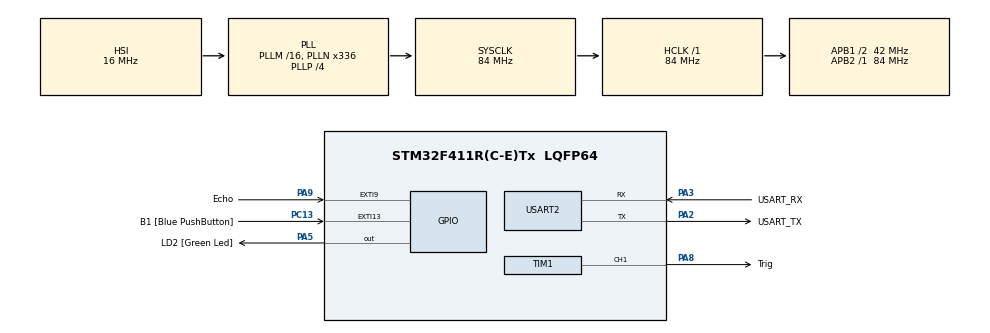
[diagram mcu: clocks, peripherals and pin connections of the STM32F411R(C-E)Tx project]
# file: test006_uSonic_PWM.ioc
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Mcu.Family=STM32F4
Mcu.Name=STM32F411R(C-E)Tx
Mcu.Package=LQFP64
NVIC.EXTI9_5_IRQn=true\:0\:0\:false\:false\:true\:true\:true\:true
NVIC.PriorityGroup=NVIC_PRIORITYGROUP_0
NVIC.TIM2_IRQn=true\:0\:0\:false\:false\:true\:true\:true\:true
PA13.GPIO_Label=TMS
PA13.Mode=Serial_Wire
PA13.Signal=SYS_JTMS-SWDIO
PA14.GPIO_Label=TCK
PA14.Mode=Serial_Wire
PA14.Signal=SYS_JTCK-SWCLK
PA2.GPIO_Label=USART_TX
PA2.Mode=Asynchronous
PA2.Signal=USART2_TX
PA3.GPIO_Label=USART_RX
PA3.Mode=Asynchronous
PA3.Signal=USART2_RX
PA5.GPIO_Label=LD2 [Green Led]
PA5.Signal=GPIO_Output
PA8.GPIO_Label=Trig
PA8.Signal=S_TIM1_CH1
PA9.GPIO_Label=Echo
PA9.GPIO_ModeDefaultEXTI=GPIO_MODE_IT_RISING_FALLING
PA9.Signal=GPXTI9
PB3.GPIO_Label=SWO
PB3.Signal=SYS_JTDO-SWO
PC13-ANTI_TAMP.GPIO_Label=B1 [Blue PushButton]
PC13-ANTI_TAMP.GPIO_ModeDefaultEXTI=GPIO_MODE_IT_FALLING
PC13-ANTI_TAMP.Signal=GPXTI13
PC14-OSC32_IN.Mode=LSE-External-Oscillator
PC14-OSC32_IN.Signal=RCC_OSC32_IN
PC15-OSC32_OUT.Mode=LSE-External-Oscillator
PC15-OSC32_OUT.Signal=RCC_OSC32_OUT
PH0\ -\ OSC_IN.Mode=HSE-External-Clock-Source
PH0\ -\ OSC_IN.Signal=RCC_OSC_IN
PH1\ -\ OSC_OUT.Mode=HSE-External-Clock-Source
PH1\ -\ OSC_OUT.Signal=RCC_OSC_OUT
ProjectManager.HeapSize=0x200
ProjectManager.StackSize=0x400
ProjectManager.TargetToolchain=STM32CubeIDE
RCC.48MHZClocksFreq_Value=84000000
RCC.AHBFreq_Value=84000000
RCC.APB1CLKDivider=RCC_HCLK_DIV2
RCC.APB1Freq_Value=42000000
RCC.APB1TimFreq_Value=84000000
RCC.APB2Freq_Value=84000000
RCC.APB2TimFreq_Value=84000000
RCC.CortexFreq_Value=84000000
RCC.FLatency-AdvancedSettings=FLASH_LATENCY_2
RCC.HCLKFreq_Value=84000000
RCC.HSE_VALUE=8000000
RCC.HSI_VALUE=16000000
RCC.PLLN=336
RCC.PLLP=RCC_PLLP_DIV4
RCC.SYSCLKFreq_VALUE=84000000
RCC.SYSCLKSource=RCC_SYSCLKSOURCE_PLLCLK
RCC.VCOOutputFreq_Value=336000000
SH.S_TIM1_CH1.0=TIM1_CH1,PWM Generation1 CH1
TIM1.Channel-PWM\ Generation1\ CH1=TIM_CHANNEL_1
TIM1.Period=60000-1
TIM1.Prescaler=88-1
TIM1.Pulse-PWM\ Generation1\ CH1=10
TIM2.Prescaler=84-1
USART2.VirtualMode=VM_ASYNC
VP_TIM1_VS_ClockSourceINT.Mode=Internal
VP_TIM2_VS_ClockSourceINT.Mode=Internal
board=NUCLEO-F411RE

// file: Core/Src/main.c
/* USER CODE BEGIN Header */
/**
  ******************************************************************************
  * @file           : main.c
  * @brief          : Main program body
  ******************************************************************************
  * @attention
  *
  * Copyright (c) 2025 STMicroelectronics.
  * All rights reserved.
  *
  * This software is licensed under terms that can be found in the LICENSE file
  * in the root directory of this software component.
  * If no LICENSE file comes with this software, it is provided AS-IS.
  *
  ******************************************************************************
  */
/* USER CODE END Header */
#include "main.h"

/* USER CODE BEGIN Includes */
#include "uSonic.h"
/* USER CODE END Includes */

TIM_HandleTypeDef htim1;
TIM_HandleTypeDef htim2;

UART_HandleTypeDef huart2;

void SystemClock_Config(void);
static void MX_GPIO_Init(void);
static void MX_USART2_UART_Init(void);
static void MX_TIM1_Init(void);
static void MX_TIM2_Init(void);

/* USER CODE BEGIN 0 */

double dist;
int t1 = 0, t2 = 0;
void HAL_GPIO_EXTI_Callback(uint16_t GPIO_PIN)
{
	if(GPIO_PIN == Echo_Pin)
	{
		if(HAL_GPIO_ReadPin(Echo_GPIO_Port, Echo_Pin) == 1)
		{
			//htim2.Instance->CNT = 0;
			t1 = htim2.Instance->CNT;
		}
		else
		{
			t2 = htim2.Instance->CNT;
			dist = (t2 - t1) * 0.17;
		}
	}
}
/* USER CODE END 0 */

int main(void)
{

  /* MCU Configuration--------------------------------------------------------*/

  /* Reset of all peripherals, Initializes the Flash interface and the Systick. */
  HAL_Init();

  /* Configure the system clock */
  SystemClock_Config();

  /* Initialize all configured peripherals */
  MX_GPIO_Init();
  MX_USART2_UART_Init();
  MX_TIM1_Init();
  MX_TIM2_Init();
  /* USER CODE BEGIN 2 */
  ProgramStart("uSonic PWM Trigger control");
  HAL_TIM_Base_Start_IT(&htim2);
  HAL_TIM_PWM_Start(&htim1, TIM_CHANNEL_1);
  /* USER CODE END 2 */

  /* Infinite loop */
  /* USER CODE BEGIN WHILE */
  while (1)
  {
	  htim1.Instance->CCR1 = htim1.Instance->CCR1 + 10;
	  if(htim1.Instance->CCR1 > 10)
		  htim1.Instance->CCR1 = 0;
	  printf("Distance : %.2f\r\n", dist);
	  HAL_Delay(10);
    /* USER CODE END WHILE */

  }
}

void SystemClock_Config(void)
{
  RCC_OscInitTypeDef RCC_OscInitStruct = {0};
  RCC_ClkInitTypeDef RCC_ClkInitStruct = {0};

  /** Configure the main internal regulator output voltage
  */
  __HAL_RCC_PWR_CLK_ENABLE();
  __HAL_PWR_VOLTAGESCALING_CONFIG(PWR_REGULATOR_VOLTAGE_SCALE1);

  /** Initializes the RCC Oscillators according to the specified parameters
  * in the RCC_OscInitTypeDef structure.
  */
  RCC_OscInitStruct.OscillatorType = RCC_OSCILLATORTYPE_HSI;
  RCC_OscInitStruct.HSIState = RCC_HSI_ON;
  RCC_OscInitStruct.HSICalibrationValue = RCC_HSICALIBRATION_DEFAULT;
  RCC_OscInitStruct.PLL.PLLState = RCC_PLL_ON;
  RCC_OscInitStruct.PLL.PLLSource = RCC_PLLSOURCE_HSI;
  RCC_OscInitStruct.PLL.PLLM = 16;
  RCC_OscInitStruct.PLL.PLLN = 336;
  RCC_OscInitStruct.PLL.PLLP = RCC_PLLP_DIV4;
  RCC_OscInitStruct.PLL.PLLQ = 4;
  if (HAL_RCC_OscConfig(&RCC_OscInitStruct) != HAL_OK)
  {
    Error_Handler();
  }

  /** Initializes the CPU, AHB and APB buses clocks
  */
  RCC_ClkInitStruct.ClockType = RCC_CLOCKTYPE_HCLK|RCC_CLOCKTYPE_SYSCLK
                              |RCC_CLOCKTYPE_PCLK1|RCC_CLOCKTYPE_PCLK2;
  RCC_ClkInitStruct.SYSCLKSource = RCC_SYSCLKSOURCE_PLLCLK;
  RCC_ClkInitStruct.AHBCLKDivider = RCC_SYSCLK_DIV1;
  RCC_ClkInitStruct.APB1CLKDivider = RCC_HCLK_DIV2;
  RCC_ClkInitStruct.APB2CLKDivider = RCC_HCLK_DIV1;

  if (HAL_RCC_ClockConfig(&RCC_ClkInitStruct, FLASH_LATENCY_2) != HAL_OK)
  {
    Error_Handler();
  }
}

static void MX_TIM1_Init(void)
{

  TIM_ClockConfigTypeDef sClockSourceConfig = {0};
  TIM_MasterConfigTypeDef sMasterConfig = {0};
  TIM_OC_InitTypeDef sConfigOC = {0};
  TIM_BreakDeadTimeConfigTypeDef sBreakDeadTimeConfig = {0};

  htim1.Instance = TIM1;
  htim1.Init.Prescaler = 88-1;
  htim1.Init.CounterMode = TIM_COUNTERMODE_UP;
  htim1.Init.Period = 60000-1;
  htim1.Init.ClockDivision = TIM_CLOCKDIVISION_DIV1;
  htim1.Init.RepetitionCounter = 0;
  htim1.Init.AutoReloadPreload = TIM_AUTORELOAD_PRELOAD_DISABLE;
  if (HAL_TIM_Base_Init(&htim1) != HAL_OK)
  {
    Error_Handler();
  }
  sClockSourceConfig.ClockSource = TIM_CLOCKSOURCE_INTERNAL;
  if (HAL_TIM_ConfigClockSource(&htim1, &sClockSourceConfig) != HAL_OK)
  {
    Error_Handler();
  }
  if (HAL_TIM_PWM_Init(&htim1) != HAL_OK)
  {
    Error_Handler();
  }
  sMasterConfig.MasterOutputTrigger = TIM_TRGO_RESET;
  sMasterConfig.MasterSlaveMode = TIM_MASTERSLAVEMODE_DISABLE;
  if (HAL_TIMEx_MasterConfigSynchronization(&htim1, &sMasterConfig) != HAL_OK)
  {
    Error_Handler();
  }
  sConfigOC.OCMode = TIM_OCMODE_PWM1;
  sConfigOC.Pulse = 0;
  sConfigOC.OCPolarity = TIM_OCPOLARITY_HIGH;
  sConfigOC.OCNPolarity = TIM_OCNPOLARITY_HIGH;
  sConfigOC.OCFastMode = TIM_OCFAST_DISABLE;
  sConfigOC.OCIdleState = TIM_OCIDLESTATE_RESET;
  sConfigOC.OCNIdleState = TIM_OCNIDLESTATE_RESET;
  if (HAL_TIM_PWM_ConfigChannel(&htim1, &sConfigOC, TIM_CHANNEL_1) != HAL_OK)
  {
    Error_Handler();
  }
  sBreakDeadTimeConfig.OffStateRunMode = TIM_OSSR_DISABLE;
  sBreakDeadTimeConfig.OffStateIDLEMode = TIM_OSSI_DISABLE;
  sBreakDeadTimeConfig.LockLevel = TIM_LOCKLEVEL_OFF;
  sBreakDeadTimeConfig.DeadTime = 0;
  sBreakDeadTimeConfig.BreakState = TIM_BREAK_DISABLE;
  sBreakDeadTimeConfig.BreakPolarity = TIM_BREAKPOLARITY_HIGH;
  sBreakDeadTimeConfig.AutomaticOutput = TIM_AUTOMATICOUTPUT_DISABLE;
  if (HAL_TIMEx_ConfigBreakDeadTime(&htim1, &sBreakDeadTimeConfig) != HAL_OK)
  {
    Error_Handler();
  }
  HAL_TIM_MspPostInit(&htim1);

}

static void MX_TIM2_Init(void)
{

  TIM_ClockConfigTypeDef sClockSourceConfig = {0};
  TIM_MasterConfigTypeDef sMasterConfig = {0};

  htim2.Instance = TIM2;
  htim2.Init.Prescaler = 84-1;
  htim2.Init.CounterMode = TIM_COUNTERMODE_UP;
  htim2.Init.Period = 4294967295;
  htim2.Init.ClockDivision = TIM_CLOCKDIVISION_DIV1;
  htim2.Init.AutoReloadPreload = TIM_AUTORELOAD_PRELOAD_DISABLE;
  if (HAL_TIM_Base_Init(&htim2) != HAL_OK)
  {
    Error_Handler();
  }
  sClockSourceConfig.ClockSource = TIM_CLOCKSOURCE_INTERNAL;
  if (HAL_TIM_ConfigClockSource(&htim2, &sClockSourceConfig) != HAL_OK)
  {
    Error_Handler();
  }
  sMasterConfig.MasterOutputTrigger = TIM_TRGO_RESET;
  sMasterConfig.MasterSlaveMode = TIM_MASTERSLAVEMODE_DISABLE;
  if (HAL_TIMEx_MasterConfigSynchronization(&htim2, &sMasterConfig) != HAL_OK)
  {
    Error_Handler();
  }

}

static void MX_USART2_UART_Init(void)
{

  huart2.Instance = USART2;
  huart2.Init.BaudRate = 115200;
  huart2.Init.WordLength = UART_WORDLENGTH_8B;
  huart2.Init.StopBits = UART_STOPBITS_1;
  huart2.Init.Parity = UART_PARITY_NONE;
  huart2.Init.Mode = UART_MODE_TX_RX;
  huart2.Init.HwFlowCtl = UART_HWCONTROL_NONE;
  huart2.Init.OverSampling = UART_OVERSAMPLING_16;
  if (HAL_UART_Init(&huart2) != HAL_OK)
  {
    Error_Handler();
  }

}

static void MX_GPIO_Init(void)
{
  GPIO_InitTypeDef GPIO_InitStruct = {0};

  /* GPIO Ports Clock Enable */
  __HAL_RCC_GPIOC_CLK_ENABLE();
  __HAL_RCC_GPIOH_CLK_ENABLE();
  __HAL_RCC_GPIOA_CLK_ENABLE();
  __HAL_RCC_GPIOB_CLK_ENABLE();

  /*Configure GPIO pin Output Level */
  HAL_GPIO_WritePin(LD2_GPIO_Port, LD2_Pin, GPIO_PIN_RESET);

  /*Configure GPIO pin : B1_Pin */
  GPIO_InitStruct.Pin = B1_Pin;
  GPIO_InitStruct.Mode = GPIO_MODE_IT_FALLING;
  GPIO_InitStruct.Pull = GPIO_NOPULL;
  HAL_GPIO_Init(B1_GPIO_Port, &GPIO_InitStruct);

  /*Configure GPIO pin : LD2_Pin */
  GPIO_InitStruct.Pin = LD2_Pin;
  GPIO_InitStruct.Mode = GPIO_MODE_OUTPUT_PP;
  GPIO_InitStruct.Pull = GPIO_NOPULL;
  GPIO_InitStruct.Speed = GPIO_SPEED_FREQ_LOW;
  HAL_GPIO_Init(LD2_GPIO_Port, &GPIO_InitStruct);

  /*Configure GPIO pin : Echo_Pin */
  GPIO_InitStruct.Pin = Echo_Pin;
  GPIO_InitStruct.Mode = GPIO_MODE_IT_RISING;
  GPIO_InitStruct.Pull = GPIO_NOPULL;
  HAL_GPIO_Init(Echo_GPIO_Port, &GPIO_InitStruct);

  /* EXTI interrupt init*/
  HAL_NVIC_SetPriority(EXTI9_5_IRQn, 0, 0);
  HAL_NVIC_EnableIRQ(EXTI9_5_IRQn);

}

void Error_Handler(void)
{
  __disable_irq();
  while (1)
  {
  }
}
